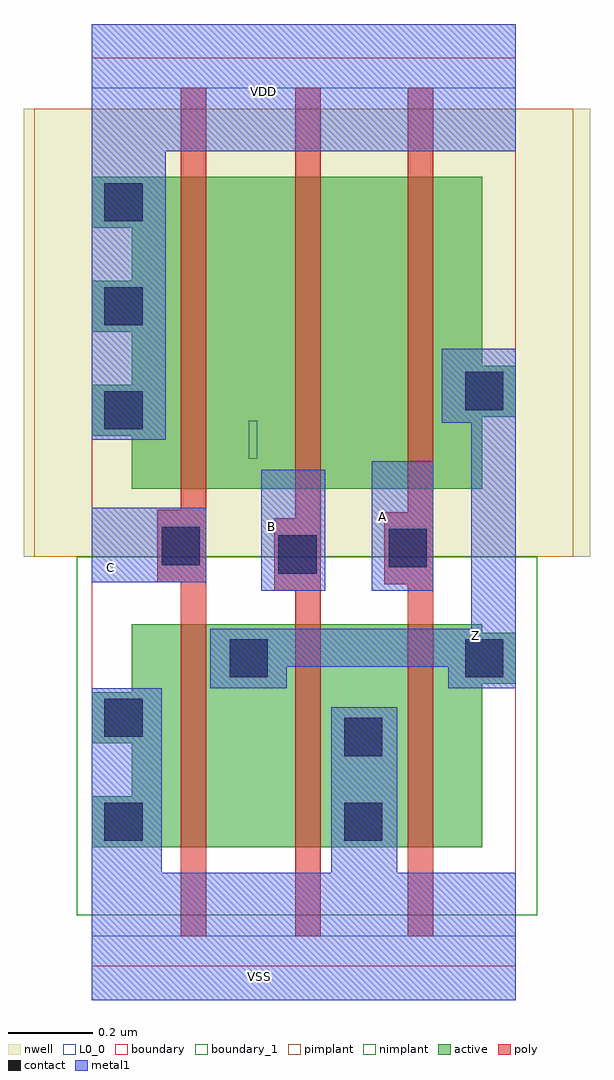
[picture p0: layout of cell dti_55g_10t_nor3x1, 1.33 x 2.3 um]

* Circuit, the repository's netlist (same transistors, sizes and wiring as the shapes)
*##########################################################################################
* Copyright (c) 2023 Dolphin Technology, Inc.
* This netlist is proprietary and confidential information of
* Dolphin Technology, Inc. and can only be used or viewed
* under license or with written permission from Dolphin Technology, Inc.
*##########################################################################################
* /data/projects/stdcells/scripts_svn_update_flow/Update_property_flow/lvsNetlist.pl -c dti_55g_10t_nor3x1 -p /data/projects/stdcells/scripts_svn_update_flow/Update_property_flow/params/params55.sp -s netlist -d lvs -nglob
* dt35-linux:/data/projects/stdcells/REPOSITORY_RV003/ckt/tsmc55 
* dti_55g_10t_nor3x1.ckt generated on 6/5/2023 at 10:12:32
*##########################################################################################
* Dependencies
*##########################################################################################

.param wnd=1u wpd=1u

.option scale=1

.global vdd vss vddps vddcs
* DAMN, don't know where the cell is 
.subckt dti_55g_10t_nor3x1 VDD VSS C A B Z
mn3 Z C VSS VSS nch l=0.06u w=0.525u
mp1 Z A N1N71 VDD pch l=0.06u w=0.735u
mn1 Z A VSS VSS nch l=0.06u w=0.525u
mn2 Z B VSS VSS nch l=0.06u w=0.525u
mp2 N1N71 B N1N85 VDD pch l=0.06u w=0.735u
mp3 N1N85 C VDD VDD pch l=0.06u w=0.735u
.ends

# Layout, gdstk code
from math import pi, radians
import gdstk
lib = gdstk.Library(unit=1e-6, precision=1e-09)
def R(c, l, rs):  # rectangles x0, y0, x1, y1
    for r in rs: c.add(gdstk.rectangle(r[:2], r[2:], *l))
L0_0 = (0, 0)
nwell = (3, 0)
active = (6, 0)
poly = (17, 0)
pimplant = (25, 0)
nimplant = (26, 0)
contact = (30, 0)
metal1 = (31, 0)
boundary = (108, 0)
boundary_1 = (108, 1)
L923_0 = (923, 0)

template_55g_10t = lib.new_cell('template_55g_10t')
R(template_55g_10t, metal1, [(0,-0.15,0.2,0.15), (0,1.85,0.2,2.15)])
template_55g_10t.add(gdstk.FlexPath([(0.2,0.21),(0,0.21)], 0, ends="flush", simple_path=True, layer=923, datatype=0))  # L923_0
template_55g_10t.add(gdstk.FlexPath([(0.2,0.735),(0,0.735)], 0, ends="flush", simple_path=True, layer=923, datatype=0))  # L923_0
template_55g_10t.add(gdstk.FlexPath([(0.2,0.895),(0,0.895)], 0, ends="flush", simple_path=True, layer=923, datatype=0))  # L923_0
template_55g_10t.add(gdstk.FlexPath([(0.2,1.055),(0,1.055)], 0, ends="flush", simple_path=True, layer=923, datatype=0))  # L923_0
template_55g_10t.add(gdstk.FlexPath([(0.2,1.79),(0,1.79)], 0, ends="flush", simple_path=True, layer=923, datatype=0))  # L923_0

cellgrid_nom2 = lib.new_cell('cellgrid_noM2')
R(cellgrid_nom2, L0_0, [(0,0,0.2,0.2)])
cellgrid_nom2.add(gdstk.FlexPath([(0.2,0),(0,0.2)], 0, ends="flush", simple_path=True, layer=0, datatype=0))  # L0_0
cellgrid_nom2.add(gdstk.FlexPath([(0.2,0.2),(0,0)], 0, ends="flush", simple_path=True, layer=0, datatype=0))  # L0_0

pmos_735_n_2 = lib.new_cell('pmos_735_n_2')
R(pmos_735_n_2, nwell, [(-0.275,-0.16,0.335,0.895)])
R(pmos_735_n_2, active, [(-0.115,0,0.175,0.735)])
R(pmos_735_n_2, poly, [(0,-0.14,0.06,0.875)])
R(pmos_735_n_2, pimplant, [(-0.245,-0.16,0.305,0.895)])

nmos_525_n_2 = lib.new_cell('nmos_525_n_2')
R(nmos_525_n_2, active, [(-0.115,0,0.175,0.525)])
R(nmos_525_n_2, poly, [(0,-0.14,0.06,0.665)])
R(nmos_525_n_2, nimplant, [(-0.245,-0.16,0.305,0.685)])

cnt_n = lib.new_cell('cnt_n')
R(cnt_n, active, [(-0.06,-0.075,0.06,0.075)])
R(cnt_n, contact, [(-0.045,-0.045,0.045,0.045)])
R(cnt_n, metal1, [(-0.045,-0.045,0.045,0.045)])

cnt = lib.new_cell('cnt')
R(cnt, contact, [(-0.045,-0.045,0.045,0.045)])
R(cnt, metal1, [(-0.045,-0.045,0.045,0.045)])

pcnt_v = lib.new_cell('pcnt_v')
R(pcnt_v, poly, [(-0.055,-0.085,0.055,0.085)])
pcnt_v.add(gdstk.Reference(cnt, (0,0)))

dti_55g_10t_nor3x1 = lib.new_cell('dti_55g_10t_nor3x1')
R(dti_55g_10t_nor3x1, nwell, [(-0.16,0.895,1.175,1.95)])
R(dti_55g_10t_nor3x1, poly, [(0.21,0,0.27,0.07), (0.48,0,0.54,0.07), (0.745,0,0.805,0.07), (0.21,0.875,0.27,0.915), (0.48,0.875,0.54,0.915), (0.745,0.875,0.805,0.915), (0.21,1.93,0.27,2), (0.48,1.93,0.54,2), (0.745,1.93,0.805,2)])
R(dti_55g_10t_nor3x1, pimplant, [(-0.135,0.895,1.135,1.95)])
R(dti_55g_10t_nor3x1, metal1, [(0,0.15,0.165,0.585), (0.565,0.15,0.72,0.54), (0.28,0.585,0.46,0.725), (0.84,0.585,1,0.725), (0.46,0.635,0.84,0.725), (0.895,0.695,1,1.21), (0.4,0.815,0.55,1.1), (0.66,0.815,0.805,1.12), (0,0.835,0.27,1.01), (0,1.17,0.175,1.85), (0.825,1.21,1,1.385)])
R(dti_55g_10t_nor3x1, boundary, [(0,-0.07,1,2.07)])
R(dti_55g_10t_nor3x1, boundary_1, [(0.37,1.125,0.39,1.215)])
r = gdstk.Reference(template_55g_10t, (0,0)); r.repetition = gdstk.Repetition(5, 1, v1=(0.2,0), v2=(0,0)); dti_55g_10t_nor3x1.add(r)
r = gdstk.Reference(cellgrid_nom2, (0,0)); r.repetition = gdstk.Repetition(5, 10, v1=(0.2,0), v2=(0,0.2)); dti_55g_10t_nor3x1.add(r)
dti_55g_10t_nor3x1.add(gdstk.Reference(pmos_735_n_2, (0.21,1.055)))
dti_55g_10t_nor3x1.add(gdstk.Reference(pmos_735_n_2, (0.48,1.055)))
dti_55g_10t_nor3x1.add(gdstk.Reference(pmos_735_n_2, (0.745,1.055)))
dti_55g_10t_nor3x1.add(gdstk.Reference(nmos_525_n_2, (0.21,0.21)))
dti_55g_10t_nor3x1.add(gdstk.Reference(nmos_525_n_2, (0.48,0.21)))
dti_55g_10t_nor3x1.add(gdstk.Reference(nmos_525_n_2, (0.745,0.21)))
dti_55g_10t_nor3x1.add(gdstk.Reference(cnt_n, (0.075,1.73), rotation=pi/2))
dti_55g_10t_nor3x1.add(gdstk.Reference(cnt_n, (0.075,1.485), rotation=pi/2))
dti_55g_10t_nor3x1.add(gdstk.Reference(cnt_n, (0.075,1.24), rotation=pi/2))
dti_55g_10t_nor3x1.add(gdstk.Reference(cnt_n, (0.075,0.27), rotation=pi/2))
dti_55g_10t_nor3x1.add(gdstk.Reference(cnt_n, (0.075,0.515), rotation=pi/2))
dti_55g_10t_nor3x1.add(gdstk.Reference(cnt_n, (0.64,0.27), rotation=3*pi/2))
dti_55g_10t_nor3x1.add(gdstk.Reference(cnt_n, (0.64,0.47), rotation=3*pi/2))
dti_55g_10t_nor3x1.add(gdstk.Reference(cnt_n, (0.925,1.285), rotation=3*pi/2))
dti_55g_10t_nor3x1.add(gdstk.Reference(cnt_n, (0.925,0.655), rotation=3*pi/2))
dti_55g_10t_nor3x1.add(gdstk.Reference(cnt_n, (0.37,0.655), rotation=3*pi/2))
dti_55g_10t_nor3x1.add(gdstk.Reference(pcnt_v, (0.21,0.92), rotation=pi))
dti_55g_10t_nor3x1.add(gdstk.Reference(pcnt_v, (0.485,0.9), rotation=pi))
dti_55g_10t_nor3x1.add(gdstk.Reference(pcnt_v, (0.745,0.915)))
dti_55g_10t_nor3x1.add(gdstk.Label('A', (0.685,0.99), layer=131, texttype=0))
dti_55g_10t_nor3x1.add(gdstk.Label('C', (0.045,0.87), layer=131, texttype=0))
dti_55g_10t_nor3x1.add(gdstk.Label('B', (0.425,0.965), layer=131, texttype=0))
dti_55g_10t_nor3x1.add(gdstk.Label('Z', (0.905,0.71), layer=131, texttype=0))
dti_55g_10t_nor3x1.add(gdstk.Label('VDD', (0.405,1.99), layer=131, texttype=0))
dti_55g_10t_nor3x1.add(gdstk.Label('VSS', (0.395,-0.095), layer=131, texttype=0))

lib.write_gds('dti_55g_10t_nor3x1.gds')
